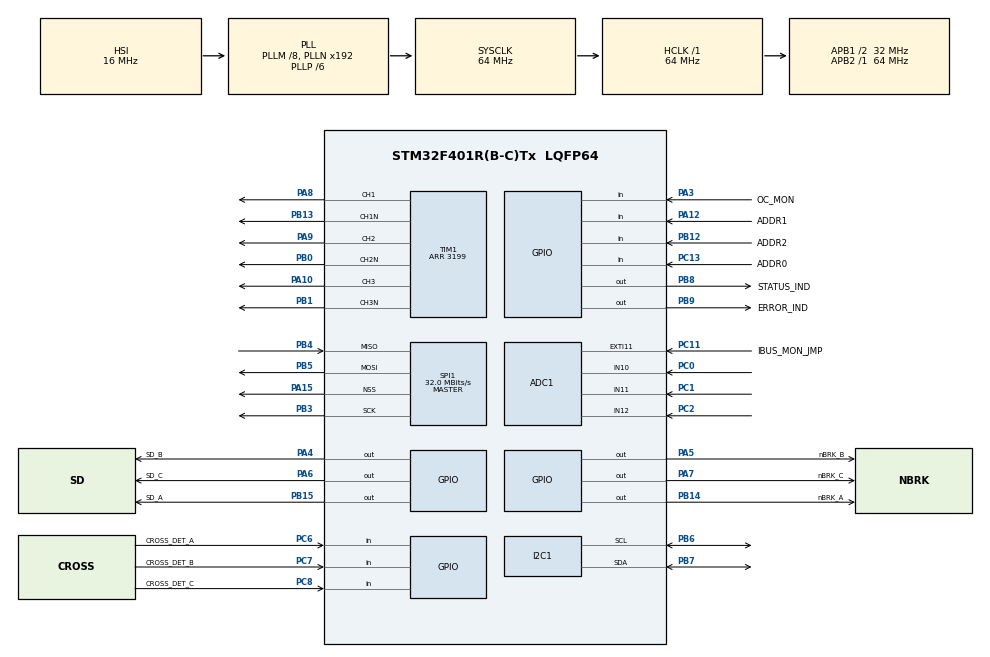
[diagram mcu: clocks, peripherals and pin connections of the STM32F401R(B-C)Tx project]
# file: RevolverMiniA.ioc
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ADC1.Channel-8\#ChannelRegularConversion=ADC_CHANNEL_10
ADC1.NbrOfConversionFlag=1
ADC1.Rank-8\#ChannelRegularConversion=1
ADC1.SamplingTime-8\#ChannelRegularConversion=ADC_SAMPLETIME_3CYCLES
ADC1.master=1
I2C1.NoStretchMode=I2C_NOSTRETCH_ENABLE
I2C1.OwnAddress=0x00
Mcu.Family=STM32F4
Mcu.Name=STM32F401R(B-C)Tx
Mcu.Package=LQFP64
NVIC.I2C1_ER_IRQn=true\:0\:0\:false\:false\:true\:true\:true
NVIC.I2C1_EV_IRQn=true\:0\:0\:false\:false\:true\:true\:true
NVIC.PriorityGroup=NVIC_PRIORITYGROUP_4
NVIC.TIM2_IRQn=true\:0\:0\:false\:false\:true\:true\:true
NVIC.TIM3_IRQn=true\:0\:0\:false\:false\:true\:true\:true
NVIC.TIM4_IRQn=true\:0\:0\:false\:false\:true\:true\:true
PA10.Signal=S_TIM1_CH3
PA12.GPIO_Label=ADDR1
PA12.Signal=GPIO_Input
PA13.Signal=SYS_JTMS-SWDIO
PA14.Signal=SYS_JTCK-SWCLK
PA15.Mode=NSS_Signal_Hard_Output
PA15.Signal=SPI1_NSS
PA3.GPIO_Label=OC_MON
PA3.Signal=GPIO_Input
PA4.GPIO_Label=SD_B
PA4.GPIO_ModeDefaultOutputPP=GPIO_MODE_OUTPUT_PP
PA4.GPIO_PuPd=GPIO_PULLDOWN
PA4.GPIO_Speed=GPIO_SPEED_FREQ_HIGH
PA4.Signal=GPIO_Output
PA5.GPIO_Label=nBRK_B
PA5.GPIO_ModeDefaultOutputPP=GPIO_MODE_OUTPUT_OD
PA5.GPIO_PuPd=GPIO_PULLUP
PA5.GPIO_Speed=GPIO_SPEED_FREQ_HIGH
PA5.PinState=GPIO_PIN_SET
PA5.Signal=GPIO_Output
PA6.GPIO_Label=SD_C
PA6.GPIO_PuPd=GPIO_PULLDOWN
PA6.GPIO_Speed=GPIO_SPEED_FREQ_HIGH
PA6.Signal=GPIO_Output
PA7.GPIO_Label=nBRK_C
PA7.GPIO_ModeDefaultOutputPP=GPIO_MODE_OUTPUT_OD
PA7.GPIO_PuPd=GPIO_PULLUP
PA7.GPIO_Speed=GPIO_SPEED_FREQ_HIGH
PA7.PinState=GPIO_PIN_SET
PA7.Signal=GPIO_Output
PA8.Signal=S_TIM1_CH1
PA9.Signal=S_TIM1_CH2
PB0.Mode=PWM Generation2 CH2 CH2N
PB0.Signal=TIM1_CH2N
PB1.Mode=PWM Generation3 CH3 CH3N
PB1.Signal=TIM1_CH3N
PB12.GPIO_Label=ADDR2
PB12.Signal=GPIO_Input
PB13.Mode=PWM Generation1 CH1 CH1N
PB13.Signal=TIM1_CH1N
PB14.GPIO_Label=nBRK_A
PB14.GPIO_ModeDefaultOutputPP=GPIO_MODE_OUTPUT_OD
PB14.GPIO_PuPd=GPIO_PULLUP
PB14.GPIO_Speed=GPIO_SPEED_FREQ_HIGH
PB14.PinState=GPIO_PIN_SET
PB14.Signal=GPIO_Output
PB15.GPIO_Label=SD_A
PB15.GPIO_ModeDefaultOutputPP=GPIO_MODE_OUTPUT_PP
PB15.GPIO_PuPd=GPIO_PULLDOWN
PB15.GPIO_Speed=GPIO_SPEED_FREQ_HIGH
PB15.Signal=GPIO_Output
PB3.Mode=Full_Duplex_Master
PB3.Signal=SPI1_SCK
PB4.Mode=Full_Duplex_Master
PB4.Signal=SPI1_MISO
PB5.Mode=Full_Duplex_Master
PB5.Signal=SPI1_MOSI
PB6.Mode=I2C
PB6.Signal=I2C1_SCL
PB7.Mode=I2C
PB7.Signal=I2C1_SDA
PB8.GPIO_Label=STATUS_IND
PB8.GPIO_PuPd=GPIO_PULLDOWN
PB8.Signal=GPIO_Output
PB9.GPIO_Label=ERROR_IND
PB9.GPIO_PuPd=GPIO_PULLDOWN
PB9.Signal=GPIO_Output
PC0.Signal=ADCx_IN10
PC1.Signal=ADCx_IN11
PC11.GPIO_Label=IBUS_MON_JMP
PC11.Signal=GPXTI11
PC13-ANTI_TAMP.GPIO_Label=ADDR0
PC13-ANTI_TAMP.Signal=GPIO_Input
PC14-OSC32_IN.Mode=LSE-External-Oscillator
PC14-OSC32_IN.Signal=RCC_OSC32_IN
PC15-OSC32_OUT.Mode=LSE-External-Oscillator
PC15-OSC32_OUT.Signal=RCC_OSC32_OUT
PC2.Signal=ADCx_IN12
PC6.GPIO_Label=CROSS_DET_A
PC6.Signal=GPIO_Input
PC7.GPIO_Label=CROSS_DET_B
PC7.Signal=GPIO_Input
PC8.GPIO_Label=CROSS_DET_C
PC8.Signal=GPIO_Input
PH0\ -\ OSC_IN.Mode=HSE-External-Oscillator
PH0\ -\ OSC_IN.Signal=RCC_OSC_IN
PH1\ -\ OSC_OUT.Mode=HSE-External-Oscillator
PH1\ -\ OSC_OUT.Signal=RCC_OSC_OUT
ProjectManager.HeapSize=0x200
ProjectManager.StackSize=0x400
ProjectManager.TargetToolchain=STM32CubeIDE
RCC.48MHZClocksFreq_Value=96000000
RCC.AHBFreq_Value=64000000
RCC.APB1CLKDivider=RCC_HCLK_DIV2
RCC.APB1Freq_Value=32000000
RCC.APB1TimFreq_Value=64000000
RCC.APB2Freq_Value=64000000
RCC.APB2TimFreq_Value=64000000
RCC.CortexFreq_Value=64000000
RCC.HCLKFreq_Value=64000000
RCC.HSE_VALUE=25000000
RCC.HSI_VALUE=16000000
RCC.PLLM=8
RCC.PLLP=RCC_PLLP_DIV6
RCC.SYSCLKFreq_VALUE=64000000
RCC.SYSCLKSource=RCC_SYSCLKSOURCE_PLLCLK
RCC.VCOOutputFreq_Value=384000000
SH.ADCx_IN10.0=ADC1_IN10,IN10
SH.ADCx_IN11.0=ADC1_IN11,IN11
SH.ADCx_IN12.0=ADC1_IN12,IN12
SH.S_TIM1_CH1.0=TIM1_CH1,PWM Generation1 CH1 CH1N
SH.S_TIM1_CH2.0=TIM1_CH2,PWM Generation2 CH2 CH2N
SH.S_TIM1_CH3.0=TIM1_CH3,PWM Generation3 CH3 CH3N
SPI1.BaudRatePrescaler=SPI_BAUDRATEPRESCALER_2
SPI1.CalculateBaudRate=32.0 MBits/s
SPI1.Direction=SPI_DIRECTION_2LINES
SPI1.Mode=SPI_MODE_MASTER
SPI1.VirtualNSS=VM_NSSHARD
SPI1.VirtualType=VM_MASTER
TIM1.AutoReloadPreload=TIM_AUTORELOAD_PRELOAD_ENABLE
TIM1.Channel-PWM\ Generation1\ CH1\ CH1N=TIM_CHANNEL_1
TIM1.Channel-PWM\ Generation2\ CH2\ CH2N=TIM_CHANNEL_2
TIM1.Channel-PWM\ Generation3\ CH3\ CH3N=TIM_CHANNEL_3
TIM1.CounterMode=TIM_COUNTERMODE_CENTERALIGNED1
TIM1.DeadTime=15
TIM1.OCFastMode_PWM-PWM\ Generation1\ CH1\ CH1N=TIM_OCFAST_ENABLE
TIM1.OCFastMode_PWM-PWM\ Generation2\ CH2\ CH2N=TIM_OCFAST_ENABLE
TIM1.OCFastMode_PWM-PWM\ Generation3\ CH3\ CH3N=TIM_OCFAST_ENABLE
TIM1.Period=3199
TIM1.Pulse-PWM\ Generation1\ CH1\ CH1N=1600
TIM1.Pulse-PWM\ Generation2\ CH2\ CH2N=1600
TIM1.Pulse-PWM\ Generation3\ CH3\ CH3N=1600
TIM2.Period=10
TIM2.Prescaler=64-1
TIM3.Period=50000
TIM3.Prescaler=64-1
TIM4.Period=50000
TIM4.Prescaler=640-1
VP_TIM2_VS_ClockSourceINT.Mode=Internal
VP_TIM3_VS_ClockSourceINT.Mode=Internal
VP_TIM4_VS_ClockSourceINT.Mode=Internal
board=custom

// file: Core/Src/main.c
/* USER CODE BEGIN Header */
/**
  ******************************************************************************
  * @file           : main.c
  * @brief          : Main program body
  ******************************************************************************
  * @attention
  *
  * Copyright (c) 2024 STMicroelectronics.
  * All rights reserved.
  *
  * This software is licensed under terms that can be found in the LICENSE file
  * in the root directory of this software component.
  * If no LICENSE file comes with this software, it is provided AS-IS.
  *
  ******************************************************************************
  */
/* USER CODE END Header */
#include "main.h"

/* USER CODE BEGIN PD */
static uint8_t RxBuffer[256];
/* USER CODE END PD */

ADC_HandleTypeDef hadc1;

I2C_HandleTypeDef hi2c1;

SPI_HandleTypeDef hspi1;

TIM_HandleTypeDef htim1;
TIM_HandleTypeDef htim2;
TIM_HandleTypeDef htim3;
TIM_HandleTypeDef htim4;

/* USER CODE BEGIN PV */

int trap_120_map[6][3] = {
    {0,1,-1}, //1
    {-1,1,0}, //2
    {-1,0,1}, //3
    {0,-1,1}, //4
    {1,-1,0}, //5
    {1,0,-1}  //6
};

// PI terms
float user_velocity = 0;
float velocity_target = 0;
float kP = 0.06;
float kI = 0.15;
float set_velocity = 0;
float I_vel = 0;

// helper functions
void adjust_PWM_DC(TIM_HandleTypeDef* const pwmHandle, int channel, const float DC);
void set_phase_voltages(float Uq, float Ud, float angle);
void initialize_angle();

// control functions
void run_motor();
void velocity_control_loop(float target);
void pi_loop();
void stop_motor();
void enable_motor(void);
void disable_motor();

// status
int running = 0;
int ADDR0, ADDR1, ADDR2;

uint8_t i2c_addr = 0x00;

// user constants
int pole_pairs;

// constants
float quantized_e_angle;
float phase_e_angle;

// system variables
float shaft_angle;
float shaft_velocity;
uint32_t ccr_dc = 0;
uint32_t bus_current;
int phase_state;
float uq_mag;

uint32_t now, ol_ts;
double elapsed;

/* USER CODE END PV */

void SystemClock_Config(void);
static void MX_GPIO_Init(void);
static void MX_TIM1_Init(void);
static void MX_SPI1_Init(void);
static void MX_I2C1_Init(void);
static void MX_ADC1_Init(void);
static void MX_TIM2_Init(void);
static void MX_TIM3_Init(void);
static void MX_TIM4_Init(void);

int main(void)
{

  /* MCU Configuration--------------------------------------------------------*/

  /* Reset of all peripherals, Initializes the Flash interface and the Systick. */
  HAL_Init();

  /* Configure the system clock */
  SystemClock_Config();

  /* Initialize all configured peripherals */
  MX_GPIO_Init();
  MX_TIM1_Init();
  MX_SPI1_Init();
  MX_I2C1_Init();
  MX_ADC1_Init();
  MX_TIM2_Init();
  MX_TIM3_Init();
  MX_TIM4_Init();
  /* USER CODE BEGIN 2 */

  htim1.Instance->CCR1 = 0;
  htim1.Instance->CCR2 = 0;
  htim1.Instance->CCR3 = 0;

  // T200 motor constants
  pole_pairs = 14;
  phase_e_angle = 360 / (float)pole_pairs;
  quantized_e_angle = 360/(6 * (float)pole_pairs);
  uq_mag = 0.15;

  // initialize I2C
  //ADDR0
  if(HAL_GPIO_ReadPin(GPIOC, ADDR0) == GPIO_PIN_SET){
	  i2c_addr = (i2c_addr | 0x01);
  }
  //ADDR1
  if(HAL_GPIO_ReadPin(GPIOA, ADDR1) == GPIO_PIN_SET){
  	  i2c_addr = (i2c_addr | 0x02);
  }
  //ADDR2
  if(HAL_GPIO_ReadPin(GPIOB, ADDR2) == GPIO_PIN_SET){
  	  i2c_addr = (i2c_addr | 0x04);
  }

  i2c_addr = 0x22;

  HAL_I2C_EnableListen_IT(&hi2c1);

  MX_I2C1_Init();

  // enable listen interrupt
  if(HAL_I2C_EnableListen_IT(&hi2c1) != HAL_OK){
      /* Transfer error in reception process */
      Error_Handler();
   }

  user_velocity = 0;
  enable_motor();
  initialize_angle();

  HAL_TIM_Base_Start_IT(&htim2);
  HAL_TIM_Base_Start_IT(&htim3);
  HAL_TIM_Base_Start_IT(&htim4);

  uint8_t tr = 0x00;

  /* USER CODE END 2 */

  /* Infinite loop */
  while (1)
  {

  }
}

void SystemClock_Config(void)
{
  RCC_OscInitTypeDef RCC_OscInitStruct = {0};
  RCC_ClkInitTypeDef RCC_ClkInitStruct = {0};

  /** Configure the main internal regulator output voltage
  */
  __HAL_RCC_PWR_CLK_ENABLE();
  __HAL_PWR_VOLTAGESCALING_CONFIG(PWR_REGULATOR_VOLTAGE_SCALE2);
  /** Initializes the RCC Oscillators according to the specified parameters
  * in the RCC_OscInitTypeDef structure.
  */
  RCC_OscInitStruct.OscillatorType = RCC_OSCILLATORTYPE_HSI;
  RCC_OscInitStruct.HSIState = RCC_HSI_ON;
  RCC_OscInitStruct.HSICalibrationValue = RCC_HSICALIBRATION_DEFAULT;
  RCC_OscInitStruct.PLL.PLLState = RCC_PLL_ON;
  RCC_OscInitStruct.PLL.PLLSource = RCC_PLLSOURCE_HSI;
  RCC_OscInitStruct.PLL.PLLM = 8;
  RCC_OscInitStruct.PLL.PLLN = 192;
  RCC_OscInitStruct.PLL.PLLP = RCC_PLLP_DIV6;
  RCC_OscInitStruct.PLL.PLLQ = 4;
  if (HAL_RCC_OscConfig(&RCC_OscInitStruct) != HAL_OK)
  {
    Error_Handler();
  }
  /** Initializes the CPU, AHB and APB buses clocks
  */
  RCC_ClkInitStruct.ClockType = RCC_CLOCKTYPE_HCLK|RCC_CLOCKTYPE_SYSCLK
                              |RCC_CLOCKTYPE_PCLK1|RCC_CLOCKTYPE_PCLK2;
  RCC_ClkInitStruct.SYSCLKSource = RCC_SYSCLKSOURCE_PLLCLK;
  RCC_ClkInitStruct.AHBCLKDivider = RCC_SYSCLK_DIV1;
  RCC_ClkInitStruct.APB1CLKDivider = RCC_HCLK_DIV2;
  RCC_ClkInitStruct.APB2CLKDivider = RCC_HCLK_DIV1;

  if (HAL_RCC_ClockConfig(&RCC_ClkInitStruct, FLASH_LATENCY_2) != HAL_OK)
  {
    Error_Handler();
  }
}

static void MX_ADC1_Init(void)
{

  ADC_ChannelConfTypeDef sConfig = {0};

  /** Configure the global features of the ADC (Clock, Resolution, Data Alignment and number of conversion)
  */
  hadc1.Instance = ADC1;
  hadc1.Init.ClockPrescaler = ADC_CLOCK_SYNC_PCLK_DIV2;
  hadc1.Init.Resolution = ADC_RESOLUTION_12B;
  hadc1.Init.ScanConvMode = DISABLE;
  hadc1.Init.ContinuousConvMode = DISABLE;
  hadc1.Init.DiscontinuousConvMode = DISABLE;
  hadc1.Init.ExternalTrigConvEdge = ADC_EXTERNALTRIGCONVEDGE_RISING;
  hadc1.Init.ExternalTrigConv = ADC_EXTERNALTRIGCONV_Ext_IT11;
  hadc1.Init.DataAlign = ADC_DATAALIGN_RIGHT;
  hadc1.Init.NbrOfConversion = 1;
  hadc1.Init.DMAContinuousRequests = DISABLE;
  hadc1.Init.EOCSelection = ADC_EOC_SINGLE_CONV;
  if (HAL_ADC_Init(&hadc1) != HAL_OK)
  {
    Error_Handler();
  }
  /** Configure for the selected ADC regular channel its corresponding rank in the sequencer and its sample time.
  */
  sConfig.Channel = ADC_CHANNEL_10;
  sConfig.Rank = 1;
  sConfig.SamplingTime = ADC_SAMPLETIME_3CYCLES;
  if (HAL_ADC_ConfigChannel(&hadc1, &sConfig) != HAL_OK)
  {
    Error_Handler();
  }

}

static void MX_I2C1_Init(void)
{

  hi2c1.Instance = I2C1;
  hi2c1.Init.ClockSpeed = 100000;
  hi2c1.Init.DutyCycle = I2C_DUTYCYCLE_2;
  hi2c1.Init.OwnAddress1 = 22;
  hi2c1.Init.AddressingMode = I2C_ADDRESSINGMODE_7BIT;
  hi2c1.Init.DualAddressMode = I2C_DUALADDRESS_DISABLE;
  hi2c1.Init.OwnAddress2 = 0;
  hi2c1.Init.GeneralCallMode = I2C_GENERALCALL_DISABLE;
  hi2c1.Init.NoStretchMode = I2C_NOSTRETCH_ENABLE;
  if (HAL_I2C_Init(&hi2c1) != HAL_OK)
  {
    Error_Handler();
  }

}

static void MX_SPI1_Init(void)
{

  /* SPI1 parameter configuration*/
  hspi1.Instance = SPI1;
  hspi1.Init.Mode = SPI_MODE_MASTER;
  hspi1.Init.Direction = SPI_DIRECTION_2LINES;
  hspi1.Init.DataSize = SPI_DATASIZE_8BIT;
  hspi1.Init.CLKPolarity = SPI_POLARITY_LOW;
  hspi1.Init.CLKPhase = SPI_PHASE_1EDGE;
  hspi1.Init.NSS = SPI_NSS_HARD_OUTPUT;
  hspi1.Init.BaudRatePrescaler = SPI_BAUDRATEPRESCALER_2;
  hspi1.Init.FirstBit = SPI_FIRSTBIT_MSB;
  hspi1.Init.TIMode = SPI_TIMODE_DISABLE;
  hspi1.Init.CRCCalculation = SPI_CRCCALCULATION_DISABLE;
  hspi1.Init.CRCPolynomial = 10;
  if (HAL_SPI_Init(&hspi1) != HAL_OK)
  {
    Error_Handler();
  }

}

static void MX_TIM1_Init(void)
{

  TIM_MasterConfigTypeDef sMasterConfig = {0};
  TIM_OC_InitTypeDef sConfigOC = {0};
  TIM_BreakDeadTimeConfigTypeDef sBreakDeadTimeConfig = {0};

  htim1.Instance = TIM1;
  htim1.Init.Prescaler = 0;
  htim1.Init.CounterMode = TIM_COUNTERMODE_CENTERALIGNED1;
  htim1.Init.Period = 3199;
  htim1.Init.ClockDivision = TIM_CLOCKDIVISION_DIV1;
  htim1.Init.RepetitionCounter = 0;
  htim1.Init.AutoReloadPreload = TIM_AUTORELOAD_PRELOAD_ENABLE;
  if (HAL_TIM_PWM_Init(&htim1) != HAL_OK)
  {
    Error_Handler();
  }
  sMasterConfig.MasterOutputTrigger = TIM_TRGO_RESET;
  sMasterConfig.MasterSlaveMode = TIM_MASTERSLAVEMODE_DISABLE;
  if (HAL_TIMEx_MasterConfigSynchronization(&htim1, &sMasterConfig) != HAL_OK)
  {
    Error_Handler();
  }
  sConfigOC.OCMode = TIM_OCMODE_PWM1;
  sConfigOC.Pulse = 1600;
  sConfigOC.OCPolarity = TIM_OCPOLARITY_HIGH;
  sConfigOC.OCNPolarity = TIM_OCNPOLARITY_HIGH;
  sConfigOC.OCFastMode = TIM_OCFAST_ENABLE;
  sConfigOC.OCIdleState = TIM_OCIDLESTATE_RESET;
  sConfigOC.OCNIdleState = TIM_OCNIDLESTATE_RESET;
  if (HAL_TIM_PWM_ConfigChannel(&htim1, &sConfigOC, TIM_CHANNEL_1) != HAL_OK)
  {
    Error_Handler();
  }
  if (HAL_TIM_PWM_ConfigChannel(&htim1, &sConfigOC, TIM_CHANNEL_2) != HAL_OK)
  {
    Error_Handler();
  }
  if (HAL_TIM_PWM_ConfigChannel(&htim1, &sConfigOC, TIM_CHANNEL_3) != HAL_OK)
  {
    Error_Handler();
  }
  sBreakDeadTimeConfig.OffStateRunMode = TIM_OSSR_DISABLE;
  sBreakDeadTimeConfig.OffStateIDLEMode = TIM_OSSI_DISABLE;
  sBreakDeadTimeConfig.LockLevel = TIM_LOCKLEVEL_OFF;
  sBreakDeadTimeConfig.DeadTime = 15;
  sBreakDeadTimeConfig.BreakState = TIM_BREAK_DISABLE;
  sBreakDeadTimeConfig.BreakPolarity = TIM_BREAKPOLARITY_HIGH;
  sBreakDeadTimeConfig.AutomaticOutput = TIM_AUTOMATICOUTPUT_DISABLE;
  if (HAL_TIMEx_ConfigBreakDeadTime(&htim1, &sBreakDeadTimeConfig) != HAL_OK)
  {
    Error_Handler();
  }
  HAL_TIM_MspPostInit(&htim1);

}

static void MX_TIM2_Init(void)
{

  TIM_ClockConfigTypeDef sClockSourceConfig = {0};
  TIM_MasterConfigTypeDef sMasterConfig = {0};

  htim2.Instance = TIM2;
  htim2.Init.Prescaler = 64-1;
  htim2.Init.CounterMode = TIM_COUNTERMODE_UP;
  htim2.Init.Period = 10;
  htim2.Init.ClockDivision = TIM_CLOCKDIVISION_DIV1;
  htim2.Init.AutoReloadPreload = TIM_AUTORELOAD_PRELOAD_DISABLE;
  if (HAL_TIM_Base_Init(&htim2) != HAL_OK)
  {
    Error_Handler();
  }
  sClockSourceConfig.ClockSource = TIM_CLOCKSOURCE_INTERNAL;
  if (HAL_TIM_ConfigClockSource(&htim2, &sClockSourceConfig) != HAL_OK)
  {
    Error_Handler();
  }
  sMasterConfig.MasterOutputTrigger = TIM_TRGO_RESET;
  sMasterConfig.MasterSlaveMode = TIM_MASTERSLAVEMODE_DISABLE;
  if (HAL_TIMEx_MasterConfigSynchronization(&htim2, &sMasterConfig) != HAL_OK)
  {
    Error_Handler();
  }

}

static void MX_TIM3_Init(void)
{

  TIM_ClockConfigTypeDef sClockSourceConfig = {0};
  TIM_MasterConfigTypeDef sMasterConfig = {0};

  htim3.Instance = TIM3;
  htim3.Init.Prescaler = 64-1;
  htim3.Init.CounterMode = TIM_COUNTERMODE_UP;
  htim3.Init.Period = 50000;
  htim3.Init.ClockDivision = TIM_CLOCKDIVISION_DIV1;
  htim3.Init.AutoReloadPreload = TIM_AUTORELOAD_PRELOAD_DISABLE;
  if (HAL_TIM_Base_Init(&htim3) != HAL_OK)
  {
    Error_Handler();
  }
  sClockSourceConfig.ClockSource = TIM_CLOCKSOURCE_INTERNAL;
  if (HAL_TIM_ConfigClockSource(&htim3, &sClockSourceConfig) != HAL_OK)
  {
    Error_Handler();
  }
  sMasterConfig.MasterOutputTrigger = TIM_TRGO_RESET;
  sMasterConfig.MasterSlaveMode = TIM_MASTERSLAVEMODE_DISABLE;
  if (HAL_TIMEx_MasterConfigSynchronization(&htim3, &sMasterConfig) != HAL_OK)
  {
    Error_Handler();
  }

}

static void MX_TIM4_Init(void)
{

  TIM_ClockConfigTypeDef sClockSourceConfig = {0};
  TIM_MasterConfigTypeDef sMasterConfig = {0};

  htim4.Instance = TIM4;
  htim4.Init.Prescaler = 640-1;
  htim4.Init.CounterMode = TIM_COUNTERMODE_UP;
  htim4.Init.Period = 50000;
  htim4.Init.ClockDivision = TIM_CLOCKDIVISION_DIV1;
  htim4.Init.AutoReloadPreload = TIM_AUTORELOAD_PRELOAD_DISABLE;
  if (HAL_TIM_Base_Init(&htim4) != HAL_OK)
  {
    Error_Handler();
  }
  sClockSourceConfig.ClockSource = TIM_CLOCKSOURCE_INTERNAL;
  if (HAL_TIM_ConfigClockSource(&htim4, &sClockSourceConfig) != HAL_OK)
  {
    Error_Handler();
  }
  sMasterConfig.MasterOutputTrigger = TIM_TRGO_RESET;
  sMasterConfig.MasterSlaveMode = TIM_MASTERSLAVEMODE_DISABLE;
  if (HAL_TIMEx_MasterConfigSynchronization(&htim4, &sMasterConfig) != HAL_OK)
  {
    Error_Handler();
  }

}

static void MX_GPIO_Init(void)
{
  GPIO_InitTypeDef GPIO_InitStruct = {0};

  /* GPIO Ports Clock Enable */
  __HAL_RCC_GPIOC_CLK_ENABLE();
  __HAL_RCC_GPIOH_CLK_ENABLE();
  __HAL_RCC_GPIOA_CLK_ENABLE();
  __HAL_RCC_GPIOB_CLK_ENABLE();

  /*Configure GPIO pin Output Level */
  HAL_GPIO_WritePin(GPIOA, SD_B_Pin|SD_C_Pin, GPIO_PIN_RESET);

  /*Configure GPIO pin Output Level */
  HAL_GPIO_WritePin(GPIOA, nBRK_B_Pin|nBRK_C_Pin, GPIO_PIN_SET);

  /*Configure GPIO pin Output Level */
  HAL_GPIO_WritePin(nBRK_A_GPIO_Port, nBRK_A_Pin, GPIO_PIN_SET);

  /*Configure GPIO pin Output Level */
  HAL_GPIO_WritePin(GPIOB, SD_A_Pin|STATUS_IND_Pin|ERROR_IND_Pin, GPIO_PIN_RESET);

  /*Configure GPIO pins : ADDR0_Pin CROSS_DET_A_Pin CROSS_DET_B_Pin CROSS_DET_C_Pin */
  GPIO_InitStruct.Pin = ADDR0_Pin|CROSS_DET_A_Pin|CROSS_DET_B_Pin|CROSS_DET_C_Pin;
  GPIO_InitStruct.Mode = GPIO_MODE_INPUT;
  GPIO_InitStruct.Pull = GPIO_NOPULL;
  HAL_GPIO_Init(GPIOC, &GPIO_InitStruct);

  /*Configure GPIO pins : OC_MON_Pin ADDR1_Pin */
  GPIO_InitStruct.Pin = OC_MON_Pin|ADDR1_Pin;
  GPIO_InitStruct.Mode = GPIO_MODE_INPUT;
  GPIO_InitStruct.Pull = GPIO_NOPULL;
  HAL_GPIO_Init(GPIOA, &GPIO_InitStruct);

  /*Configure GPIO pins : SD_B_Pin SD_C_Pin */
  GPIO_InitStruct.Pin = SD_B_Pin|SD_C_Pin;
  GPIO_InitStruct.Mode = GPIO_MODE_OUTPUT_PP;
  GPIO_InitStruct.Pull = GPIO_PULLDOWN;
  GPIO_InitStruct.Speed = GPIO_SPEED_FREQ_HIGH;
  HAL_GPIO_Init(GPIOA, &GPIO_InitStruct);

  /*Configure GPIO pins : nBRK_B_Pin nBRK_C_Pin */
  GPIO_InitStruct.Pin = nBRK_B_Pin|nBRK_C_Pin;
  GPIO_InitStruct.Mode = GPIO_MODE_OUTPUT_OD;
  GPIO_InitStruct.Pull = GPIO_PULLUP;
  GPIO_InitStruct.Speed = GPIO_SPEED_FREQ_HIGH;
  HAL_GPIO_Init(GPIOA, &GPIO_InitStruct);

  /*Configure GPIO pin : ADDR2_Pin */
  GPIO_InitStruct.Pin = ADDR2_Pin;
  GPIO_InitStruct.Mode = GPIO_MODE_INPUT;
  GPIO_InitStruct.Pull = GPIO_NOPULL;
  HAL_GPIO_Init(ADDR2_GPIO_Port, &GPIO_InitStruct);

  /*Configure GPIO pin : nBRK_A_Pin */
  GPIO_InitStruct.Pin = nBRK_A_Pin;
  GPIO_InitStruct.Mode = GPIO_MODE_OUTPUT_OD;
  GPIO_InitStruct.Pull = GPIO_PULLUP;
  GPIO_InitStruct.Speed = GPIO_SPEED_FREQ_HIGH;
  HAL_GPIO_Init(nBRK_A_GPIO_Port, &GPIO_InitStruct);

  /*Configure GPIO pin : SD_A_Pin */
  GPIO_InitStruct.Pin = SD_A_Pin;
  GPIO_InitStruct.Mode = GPIO_MODE_OUTPUT_PP;
  GPIO_InitStruct.Pull = GPIO_PULLDOWN;
  GPIO_InitStruct.Speed = GPIO_SPEED_FREQ_HIGH;
  HAL_GPIO_Init(SD_A_GPIO_Port, &GPIO_InitStruct);

  /*Configure GPIO pin : IBUS_MON_JMP_Pin */
  GPIO_InitStruct.Pin = IBUS_MON_JMP_Pin;
  GPIO_InitStruct.Mode = GPIO_MODE_IT_RISING;
  GPIO_InitStruct.Pull = GPIO_NOPULL;
  HAL_GPIO_Init(IBUS_MON_JMP_GPIO_Port, &GPIO_InitStruct);

  /*Configure GPIO pins : STATUS_IND_Pin ERROR_IND_Pin */
  GPIO_InitStruct.Pin = STATUS_IND_Pin|ERROR_IND_Pin;
  GPIO_InitStruct.Mode = GPIO_MODE_OUTPUT_PP;
  GPIO_InitStruct.Pull = GPIO_PULLDOWN;
  GPIO_InitStruct.Speed = GPIO_SPEED_FREQ_LOW;
  HAL_GPIO_Init(GPIOB, &GPIO_InitStruct);

}

/* USER CODE BEGIN 4 */

// Callback: timer has rolled over
void HAL_TIM_PeriodElapsedCallback(TIM_HandleTypeDef *htim)
{
/*
  // Main control loop
  if (htim == &htim2 )
  {
    run_motor();
  }
  // PI control loop
  if (htim == &htim3 )
  {
    pi_loop();
  }
  */
  // LEDs & check for stall or other bad condition
  if (htim == &htim4 )
  {
	  // status LED
	  HAL_GPIO_TogglePin (GPIOB, STATUS_IND_Pin);

	  // run LED
	  HAL_GPIO_TogglePin (GPIOB, ERROR_IND_Pin);
  }

}

// start pwm for a timer channel
void start_pwm(TIM_HandleTypeDef * tim_handler, int channel){
	switch(channel){
	    case 1:
			HAL_TIM_PWM_Start(tim_handler, TIM_CHANNEL_1); // A
			HAL_TIMEx_PWMN_Start(tim_handler, TIM_CHANNEL_1); // A
	    case 2:
	    	HAL_TIM_PWM_Start(tim_handler, TIM_CHANNEL_2); // A
	    	HAL_TIMEx_PWMN_Start(tim_handler, TIM_CHANNEL_2); // A
	    case 3:
	    	HAL_TIM_PWM_Start(tim_handler, TIM_CHANNEL_3); // A
	    	HAL_TIMEx_PWMN_Start(tim_handler, TIM_CHANNEL_3); //
	}

}

void enable_motor(){

	// set PWMs to safe states
	htim1.Instance->CCR1 = 0;
	HAL_TIM_PWM_Start(&htim1, TIM_CHANNEL_1); // A
	HAL_TIMEx_PWMN_Start(&htim1, TIM_CHANNEL_1); // A
	htim1.Instance->CCR2 = 0;
	HAL_TIM_PWM_Start(&htim1, TIM_CHANNEL_2); // B
	HAL_TIMEx_PWMN_Start(&htim1, TIM_CHANNEL_2); // B
	htim1.Instance->CCR3 = 0;
	HAL_TIM_PWM_Start(&htim1, TIM_CHANNEL_3); // C
	HAL_TIMEx_PWMN_Start(&htim1, TIM_CHANNEL_3); // C

	// release brake function and enable drivers
	HAL_GPIO_WritePin(GPIOB, nBRK_A_Pin, GPIO_PIN_SET);
	HAL_GPIO_WritePin(GPIOB, SD_A_Pin, GPIO_PIN_SET);
	HAL_GPIO_WritePin(GPIOA, nBRK_B_Pin, GPIO_PIN_SET);
	HAL_GPIO_WritePin(GPIOA, SD_B_Pin, GPIO_PIN_SET);
	HAL_GPIO_WritePin(GPIOA, nBRK_C_Pin, GPIO_PIN_SET);
	HAL_GPIO_WritePin(GPIOA, SD_C_Pin, GPIO_PIN_SET);

}

void disable_motor(){

	// set PWMs to safe states
	htim1.Instance->CCR1 = 0;
	HAL_TIM_PWM_Start(&htim1, TIM_CHANNEL_1); // A
	HAL_TIMEx_PWMN_Start(&htim1, TIM_CHANNEL_1); // A
	htim1.Instance->CCR2 = 0;
	HAL_TIM_PWM_Start(&htim1, TIM_CHANNEL_2); // B
	HAL_TIMEx_PWMN_Start(&htim1, TIM_CHANNEL_2); // B
	htim1.Instance->CCR3 = 0;
	HAL_TIM_PWM_Start(&htim1, TIM_CHANNEL_3); // C
	HAL_TIMEx_PWMN_Start(&htim1, TIM_CHANNEL_3); // C

	// TODO: disable drivers

}

void initialize_angle(){
	shaft_angle = 0;
	phase_state = 0;

	// this will set to phase state = 2 and electrical angle to quant. 1 clockwise
	set_phase_voltages(0.15, 0, quantized_e_angle);
	HAL_Delay(4);
	// set this to 0!
	user_velocity = 0;
}

// 50ms
void pi_loop(){

	// check for change
	if(user_velocity != velocity_target){
		velocity_target = user_velocity;
	}

	float error = velocity_target - set_velocity;
	float P_Term = kP * error;
	I_vel = I_vel + error;
	float I_Term = kI * I_vel;

	set_velocity = (P_Term + I_Term);

	uq_mag = fabs(set_velocity) / 4000;

}

// 10us
void run_motor(){

	// set to new velocity
	velocity_control_loop(set_velocity);
}

void stop_motor(){
	set_phase_voltages(0,0,0);
}

// this is called by the run motor function
void velocity_control_loop(float target_v){
	// find time since last call
	// calculate desired angle needed to achieve velocity

	// calculate desired angle to achieve velocity
	float e_angle = (target_v * 0.00001);

	if(target_v == 0){
		uq_mag = 0;
	}

	set_phase_voltages(uq_mag, 0, e_angle);

}

int get_phase(float angle){
	return (int)((angle - (((int)(angle / phase_e_angle)) * phase_e_angle)) / quantized_e_angle) + 1;
}

// this implements the hardware layer outputs from commutate command
void set_phase_voltages(float Uq, float Ud, float angle){

	// calculate duty cycle
	float dc_set = Uq * 100;

	if(angle == 0){
		dc_set = 0;
		if(trap_120_map[phase_state - 1][0] == 1){
			adjust_PWM_DC(&htim1, 1, dc_set);
		}
		if(trap_120_map[phase_state - 1][1] == 1){
			adjust_PWM_DC(&htim1, 2, dc_set);
		}
		if(trap_120_map[phase_state - 1][2] == 1){
			adjust_PWM_DC(&htim1, 3, dc_set);
		}
	}

	shaft_angle = shaft_angle + angle;
	if(shaft_angle > 360){
		shaft_angle = shaft_angle - 360;
	}
	if(shaft_angle < 0){
		shaft_angle = 360 + shaft_angle;
	}

	// get new phase state based on angle
	int new_phase = get_phase(shaft_angle);

	// just update duty cycles if no phase change applies
	if(new_phase == phase_state){
		return;
	}

	phase_state = new_phase;

	// switch phase
	switch(trap_120_map[phase_state - 1][0]){
		case 1:
			adjust_PWM_DC(&htim1, 1, dc_set);
			HAL_TIM_PWM_Start(&htim1, TIM_CHANNEL_1);
			HAL_TIMEx_PWMN_Start(&htim1, TIM_CHANNEL_1);
			break;
		case 0:
			HAL_TIM_PWM_Stop(&htim1, TIM_CHANNEL_1);
			HAL_TIMEx_PWMN_Stop(&htim1, TIM_CHANNEL_1);
			break;
		case -1:
			adjust_PWM_DC(&htim1, 1, 0);
			HAL_TIMEx_PWMN_Start(&htim1, TIM_CHANNEL_1);
			HAL_TIM_PWM_Start(&htim1, TIM_CHANNEL_1);
			break;
	}
	switch(trap_120_map[phase_state - 1][1]){
		case 1:
			adjust_PWM_DC(&htim1, 2, dc_set);
			HAL_TIM_PWM_Start(&htim1, TIM_CHANNEL_2);
			HAL_TIMEx_PWMN_Start(&htim1, TIM_CHANNEL_2);
			break;
		case 0:
			HAL_TIM_PWM_Stop(&htim1, TIM_CHANNEL_2);
			HAL_TIMEx_PWMN_Stop(&htim1, TIM_CHANNEL_2);
			break;
		case -1:
			adjust_PWM_DC(&htim1, 2, 0);
			HAL_TIMEx_PWMN_Start(&htim1, TIM_CHANNEL_2);
			HAL_TIM_PWM_Start(&htim1, TIM_CHANNEL_2);
			break;
	}
	switch(trap_120_map[phase_state - 1][2]){
		case 1:
			adjust_PWM_DC(&htim1, 3, dc_set);
			HAL_TIM_PWM_Start(&htim1, TIM_CHANNEL_3);
			HAL_TIMEx_PWMN_Start(&htim1, TIM_CHANNEL_3);
			break;
		case 0:
			HAL_TIM_PWM_Stop(&htim1, TIM_CHANNEL_3);
			HAL_TIMEx_PWMN_Stop(&htim1, TIM_CHANNEL_3);
			break;
		case -1:
			adjust_PWM_DC(&htim1, 3, 0);
			HAL_TIMEx_PWMN_Start(&htim1, TIM_CHANNEL_3);
			HAL_TIM_PWM_Start(&htim1, TIM_CHANNEL_3);
			break;
	}

}

// this implements the actual duty cycle setting blindly (be careful!)
void adjust_PWM_DC(TIM_HandleTypeDef* const pwmHandle, int channel, float DC)
{

    /* The duty cycle value is a percentage of the reload register value (ARR). Rounding is used.*/
    uint32_t newRegVal = (uint32_t)roundf((pwmHandle->Instance->ARR) * (DC * 0.01F));

    /*In case of the DC being calculated as higher than the reload register, cap it to the reload register*/
    if(newRegVal > pwmHandle->Instance->ARR){
        newRegVal = pwmHandle->Instance->ARR;
    }

    // set the variable for all channels
    ccr_dc = newRegVal;

	//Assign the new DC count to the capture compare register immediately
    switch(channel){
		case 1:
			pwmHandle->Instance->CCR1 = newRegVal;
		case 2:
			pwmHandle->Instance->CCR2 = newRegVal;
		case 3:
			pwmHandle->Instance->CCR3 = newRegVal;
    }
}

void HAL_I2C_ListenCpltCallback(I2C_HandleTypeDef *hi2c)
{
	HAL_I2C_EnableListen_IT(&hi2c1);
}

void HAL_I2C_SlaveTxCpltCallback(I2C_HandleTypeDef *hi2c)
{
	HAL_I2C_EnableListen_IT(&hi2c1);
}

void HAL_I2C_SlaveRxCpltCallback(I2C_HandleTypeDef *hi2c)
{
	HAL_I2C_EnableListen_IT(&hi2c1);
}

void HAL_I2C_AddrCallback(I2C_HandleTypeDef *hi2c, uint8_t TransferDirection, uint16_t AddrMatchCode){
	//if(AddrMatchCode == 22){
		//HAL_I2C_Slave_Seq_Transmit_IT(&hi2c1, , 1, I2C_FIRST_AND_LAST_FRAME);
		//HAL_I2C_Slave_Seq_Receive_IT(&hi2c1, RxBuffer, 1, I2C_NEXT_FRAME);
	//}

	  if( TransferDirection==I2C_DIRECTION_TRANSMIT ) {
	      HAL_I2C_Slave_Seq_Receive_IT(hi2c, RxBuffer, 1, I2C_NEXT_FRAME);

	  }
}

void HAL_I2C_ErrorCallback(I2C_HandleTypeDef *hi2c)
{
	HAL_I2C_Init(&hi2c1);
	HAL_I2C_EnableListen_IT(&hi2c1);
}

/* USER CODE END 4 */

void Error_Handler(void)
{
  __disable_irq();
  while (1)
  {
  }
}
